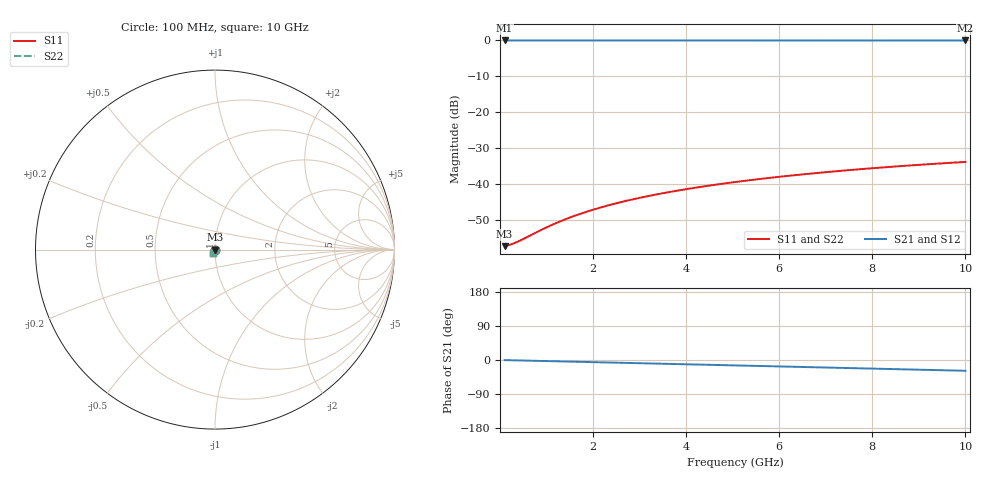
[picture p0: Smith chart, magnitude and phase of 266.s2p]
# Hz S RI R 50.00
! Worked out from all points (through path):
!   100 points, 100 MHz to 10 GHz, reference 50 ohm
!   highest |S21| = -0.01 dB at 100 MHz (marker M1); lowest = 0.0 dB at 10 GHz (marker M2)
!   group delay of S21, straight-line fit = 7.9 ps
!   lowest |S11| = -57.4 dB at 100 MHz (marker M3), VSWR 1.00, Z = 50.1 - j0.0212 ohm
!   |S11| at or under -10 dB: start of sweep to end of sweep
!   |S22| runs from -57.4 to -33.9 dB; largest |S21 - S12| = 0
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1e8  0.00133 -0.000211  0.9987 -0.00491  0.9987 -0.00491  0.00133 -0.000211
2e8  0.00133 -0.000423  0.9986 -0.00982  0.9986 -0.00982  0.00133 -0.000423
3e8  0.00133 -0.000634  0.9985 -0.0147  0.9985 -0.0147  0.00133 -0.000634
4e8  0.00132 -0.000846  0.9984 -0.0196  0.9984 -0.0196  0.00132 -0.000846
9e8  0.00126 -0.0019  0.9976 -0.0442  0.9976 -0.0442  0.00126 -0.0019
1.2e9  0.0012 -0.00254  0.9968 -0.0589  0.9968 -0.0589  0.0012 -0.00254
1.5e9  0.00112 -0.00317  0.9959 -0.0736  0.9959 -0.0736  0.00112 -0.00317
1.8e9  0.00101 -0.00381  0.9946 -0.0884  0.9946 -0.0884  0.00101 -0.00381
2.1e9  0.000891 -0.00444  0.9932 -0.1031  0.9932 -0.1031  0.000891 -0.00444
2.5e9  0.000699 -0.00528  0.991 -0.1226  0.991 -0.1226  0.000699 -0.00528
2.9e9  0.000473 -0.00612  0.9883 -0.1422  0.9883 -0.1422  0.000473 -0.00612
3.4e9  0.000143 -0.00715  0.9845 -0.1665  0.9845 -0.1665  0.000143 -0.00715
3.8e9  -0.000157 -0.00797  0.981 -0.186  0.981 -0.186  -0.000157 -0.00797
4.2e9  -0.00049 -0.00878  0.9771 -0.2053  0.9771 -0.2053  -0.00049 -0.00878
4.6e9  -0.000856 -0.00957  0.9728 -0.2247  0.9728 -0.2247  -0.000856 -0.00957
5.1e9  -0.00136 -0.0105  0.9669 -0.2487  0.9669 -0.2487  -0.00136 -0.0105
5.9e9  -0.00226 -0.0121  0.9562 -0.2869  0.9562 -0.2869  -0.00226 -0.0121
6.7e9  -0.00327 -0.0135  0.944 -0.3247  0.944 -0.3247  -0.00327 -0.0135
7.5e9  -0.00439 -0.0148  0.9302 -0.3621  0.9302 -0.3621  -0.00439 -0.0148
8.4e9  -0.00577 -0.0162  0.9129 -0.4035  0.9129 -0.4035  -0.00577 -0.0162
9.2e9  -0.00709 -0.0173  0.896 -0.4398  0.896 -0.4398  -0.00709 -0.0173
1e10  -0.00848 -0.0183  0.8775 -0.4754  0.8775 -0.4754  -0.00848 -0.0183
